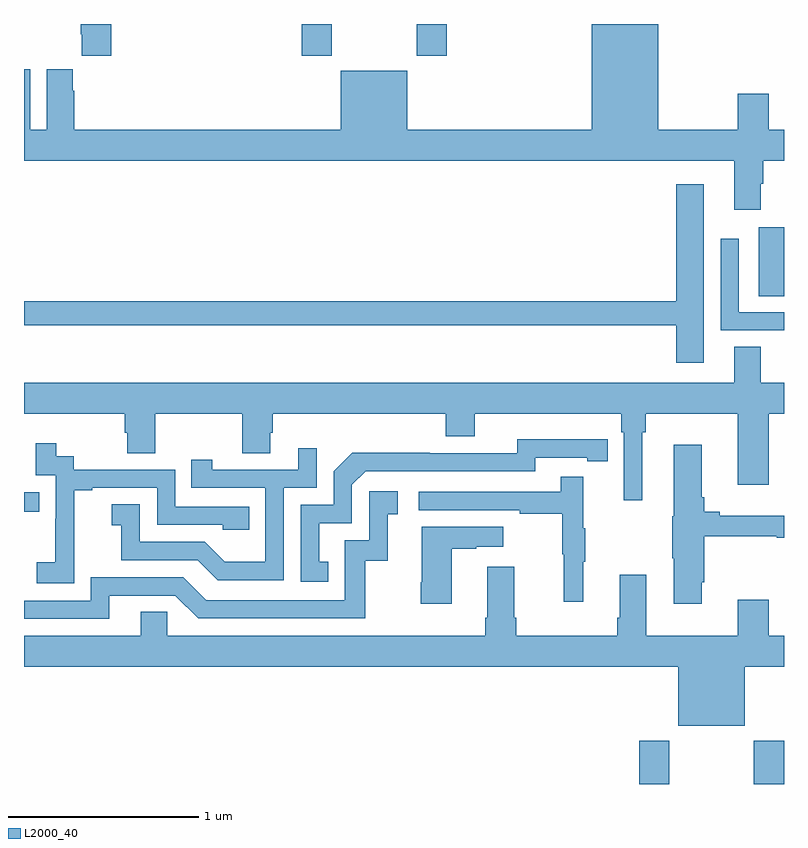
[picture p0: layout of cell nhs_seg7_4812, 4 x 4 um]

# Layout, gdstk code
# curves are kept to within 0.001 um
import gdstk
lib = gdstk.Library(unit=1e-6, precision=1e-09)
def R(c, l, rs):  # rectangles x0, y0, x1, y1
    for r in rs: c.add(gdstk.rectangle(r[:2], r[2:], *l))
def P(c, l, *ps):  # polygons
    for p in ps: c.add(gdstk.Polygon(p, *l))
L2000_40 = (2000, 40)

nhs_seg7_4812 = lib.new_cell('nhs_seg7_4812')
R(nhs_seg7_4812, L2000_40, [(416.237,1000,416.397,1000.228), (416.842,1000,417,1000.228), (413,1001.434,413.081,1001.535), (416.867,1002.568,417,1002.931), (414.461,1003.833,414.621,1004), (415.066,1003.833,415.226,1004)])
P(nhs_seg7_4812, L2000_40, [(416.738,1003.023),(416.878,1003.023),(416.878,1003.16),(416.891,1003.16),(416.891,1003.28),(417,1003.28),(417,1003.444),(416.92,1003.444),(416.92,1003.633),(416.756,1003.633),(416.756,1003.444),(416.338,1003.444),(416.338,1004),(415.988,1004),(415.988,1003.444),(415.018,1003.444),(415.018,1003.753),(414.668,1003.753),(414.668,1003.444),(413.264,1003.444),(413.264,1003.649),(413.257,1003.649),(413.257,1003.762),(413.12,1003.762),(413.12,1003.444),(413.032,1003.444),(413.032,1003.762),(413,1003.762),(413,1003.28),(416.738,1003.28)],
  [(413.459,1004),(413.299,1004),(413.299,1003.945),(413.303,1003.945),(413.303,1003.833),(413.459,1003.833)],
  [(416.578,1003.156),(416.432,1003.156),(416.432,1002.542),(413,1002.542),(413,1002.414),(416.432,1002.414),(416.432,1002.216),(416.578,1002.216)],
  [(417,1002.483),(416.763,1002.483),(416.763,1002.871),(416.667,1002.871),(416.667,1002.387),(417,1002.387)],
  [(413,1001.948),(413.531,1001.948),(413.531,1001.85),(413.543,1001.85),(413.543,1001.74),(413.691,1001.74),(413.691,1001.948),(414.148,1001.948),(414.148,1001.74),(414.295,1001.74),(414.295,1001.85),(414.308,1001.85),(414.308,1001.948),(415.22,1001.948),(415.22,1001.831),(415.372,1001.831),(415.372,1001.948),(416.144,1001.948),(416.144,1001.852),(416.157,1001.852),(416.157,1001.493),(416.254,1001.493),(416.254,1001.852),(416.273,1001.852),(416.273,1001.948),(416.756,1001.948),(416.756,1001.574),(416.92,1001.574),(416.92,1001.948),(417,1001.948),(417,1002.112),(416.878,1002.112),(416.878,1002.302),(416.738,1002.302),(416.738,1002.112),(413,1002.112)],
  [(414.602,1001.169),(414.553,1001.169),(414.553,1001.373),(414.726,1001.373),(414.726,1001.574),(414.798,1001.646),(415.692,1001.646),(415.692,1001.718),(415.964,1001.718),(415.964,1001.698),(416.072,1001.698),(416.072,1001.814),(415.596,1001.815),(415.596,1001.742),(415.136,1001.742),(415.136,1001.744),(414.728,1001.744),(414.63,1001.646),(414.63,1001.469),(414.456,1001.469),(414.456,1001.064),(414.602,1001.064)],
  [(413.265,1001.263),(413.264,1001.263),(413.264,1001.547),(413.359,1001.547),(413.359,1001.559),(413.7,1001.559),(413.7,1001.364),(414.045,1001.364),(414.045,1001.337),(414.185,1001.337),(414.185,1001.46),(413.796,1001.46),(413.796,1001.655),(413.262,1001.655),(413.262,1001.724),(413.17,1001.724),(413.17,1001.794),(413.061,1001.794),(413.061,1001.625),(413.166,1001.625),(413.166,1001.396),(413.165,1001.396),(413.165,1001.167),(413.067,1001.167),(413.067,1001.057),(413.265,1001.057)],
  [(416.566,1001.062),(416.579,1001.062),(416.579,1001.304),(416.962,1001.304),(416.962,1001.296),(417,1001.296),(417,1001.413),(416.662,1001.413),(416.662,1001.432),(416.579,1001.432),(416.579,1001.509),(416.566,1001.509),(416.566,1001.785),(416.42,1001.785),(416.42,1001.409),(416.413,1001.409),(416.413,1001.188),(416.42,1001.188),(416.42,1000.95),(416.566,1000.95)],
  [(414.366,1001.559),(414.54,1001.559),(414.54,1001.767),(414.443,1001.767),(414.443,1001.655),(413.992,1001.655),(413.992,1001.707),(413.881,1001.707),(413.881,1001.559),(414.27,1001.559),(414.27,1001.17),(414.056,1001.17),(413.952,1001.274),(413.61,1001.274),(413.61,1001.473),(413.463,1001.473),(413.463,1001.363),(413.512,1001.363),(413.512,1001.178),(413.915,1001.178),(414.02,1001.073),(414.366,1001.073)],
  [(415.943,1001.171),(415.954,1001.171),(415.954,1001.345),(415.943,1001.345),(415.943,1001.617),(415.825,1001.617),(415.825,1001.538),(415.077,1001.538),(415.077,1001.442),(415.609,1001.442),(415.609,1001.422),(415.833,1001.422),(415.833,1001.208),(415.84,1001.208),(415.84,1000.959),(415.943,1000.959)],
  [(413.449,1000.992),(413.796,1000.992),(413.916,1000.872),(414.796,1000.872),(414.796,1001.175),(414.914,1001.175),(414.914,1001.421),(414.967,1001.421),(414.967,1001.542),(414.816,1001.542),(414.816,1001.283),(414.687,1001.283),(414.687,1000.968),(413.958,1000.968),(413.838,1001.088),(413.352,1001.088),(413.352,1000.965),(413,1000.965),(413,1000.869),(413.449,1000.869)],
  [(415.252,1001.239),(415.379,1001.239),(415.379,1001.249),(415.522,1001.249),(415.522,1001.353),(415.094,1001.353),(415.094,1001.062),(415.087,1001.062),(415.087,1000.95),(415.252,1000.95)],
  [(416.794,1000.616),(417,1000.616),(417,1000.78),(416.92,1000.78),(416.92,1000.969),(416.756,1000.969),(416.756,1000.78),(416.275,1000.78),(416.275,1001.101),(416.135,1001.101),(416.135,1000.876),(416.123,1000.876),(416.123,1000.78),(415.592,1000.78),(415.592,1000.876),(415.579,1000.876),(415.579,1001.143),(415.439,1001.143),(415.439,1000.876),(415.427,1000.876),(415.427,1000.78),(413.754,1000.78),(413.754,1000.907),(413.615,1000.907),(413.615,1000.78),(413,1000.78),(413,1000.616),(416.444,1000.616),(416.444,1000.307),(416.794,1000.307)])

lib.write_gds('nhs_seg7_4812.gds')
